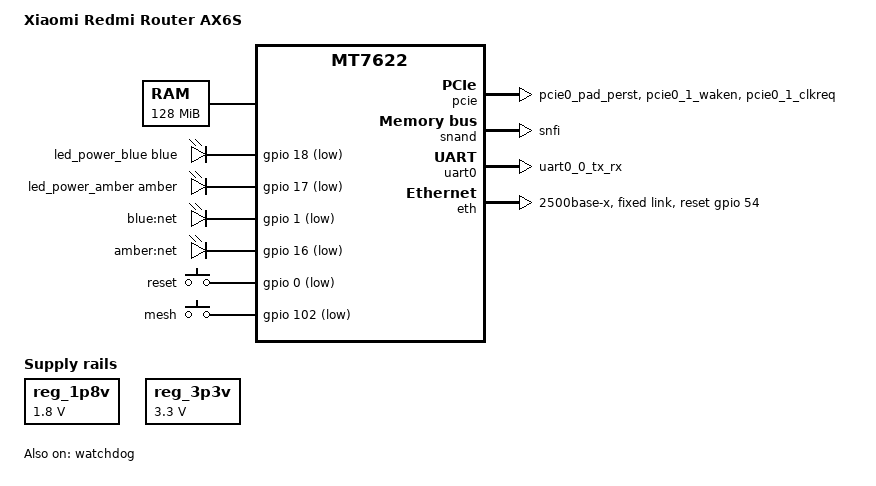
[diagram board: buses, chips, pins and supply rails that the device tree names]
// SPDX-License-Identifier: GPL-2.0-or-later OR MIT

/dts-v1/;
#include <dt-bindings/input/linux-event-codes.h>
#include <dt-bindings/leds/common.h>
#include "mt7622.dtsi"
#include "mt7622-u-boot.dtsi"

/ {
	#address-cells = <1>;
	#size-cells = <1>;
	model = "Xiaomi Redmi Router AX6S";
	compatible = "xiaomi,redmi-router-ax6s", "mediatek,mt7622";

	chosen {
		stdout-path = &uart0;
		tick-timer = &timer0;
	};

	aliases {
		spi0 = &snand;
		ethernet0 = &eth;
	};

	memory@40000000 {
		device_type = "memory";
		reg = <0x40000000 0x8000000>;
	};

	leds {
		compatible = "gpio-leds";

		led_power_blue: power_blue {
			function = LED_FUNCTION_POWER;
			color = <LED_COLOR_ID_BLUE>;
			gpios = <&gpio 18 GPIO_ACTIVE_LOW>;
		};

		led_power_amber: power_amber {
			function = LED_FUNCTION_POWER;
			color = <LED_COLOR_ID_AMBER>;
			gpios = <&gpio 17 GPIO_ACTIVE_LOW>;
		};

		led_net_blue: net_blue {
			label = "blue:net";
			gpios = <&gpio 1 GPIO_ACTIVE_LOW>;
		};

		led_net_amber: net_amber {
			label = "amber:net";
			gpios = <&gpio 16 GPIO_ACTIVE_LOW>;
		};

	};

	keys {
		compatible = "gpio-keys";

		reset {
			label = "reset";
			gpios = <&gpio 0 GPIO_ACTIVE_LOW>;
			linux,code = <KEY_RESTART>;
		};

		mesh {
			label = "mesh";
			gpios = <&gpio 102 GPIO_ACTIVE_LOW>;
			linux,code = <BTN_9>;
			linux,input-type = <EV_SW>;
		};
	};

	reg_1p8v: regulator-1p8v {
		compatible = "regulator-fixed";
		regulator-name = "fixed-1.8V";
		regulator-min-microvolt = <1800000>;
		regulator-max-microvolt = <1800000>;
		regulator-boot-on;
		regulator-always-on;
	};

	reg_3p3v: regulator-3p3v {
		compatible = "regulator-fixed";
		regulator-name = "fixed-3.3V";
		regulator-min-microvolt = <3300000>;
		regulator-max-microvolt = <3300000>;
		regulator-boot-on;
		regulator-always-on;
	};
};

&pcie {
	pinctrl-names = "default";
	pinctrl-0 = <&pcie0_pins>;
	status = "okay";

	pcie@0,0 {
		status = "okay";
	};
};

&pinctrl {
	pcie0_pins: pcie0-pins {
		mux {
			function = "pcie";
			groups = "pcie0_pad_perst",
				 "pcie0_1_waken",
				 "pcie0_1_clkreq";
		};
	};

	snfi_pins: snfi-pins {
		mux {
			function = "flash";
			groups = "snfi";
		};
	};

	uart0_pins: uart0 {
		mux {
			function = "uart";
			groups = "uart0_0_tx_rx" ;
		};
	};

	watchdog_pins: watchdog-default {
		mux {
			function = "watchdog";
			groups = "watchdog";
		};
	};
};

&snand {
	pinctrl-names = "default";
	pinctrl-0 = <&snfi_pins>;
	quad-spi;
	status = "okay";
};

&uart0 {
	pinctrl-names = "default";
	pinctrl-0 = <&uart0_pins>;
	mediatek,force-highspeed;
	status = "okay";
};

&watchdog {
	pinctrl-names = "default";
	pinctrl-0 = <&watchdog_pins>;
	status = "okay";
};

&eth {
	status = "okay";
	mediatek,gmac-id = <0>;
	phy-mode = "2500base-x";
	mediatek,switch = "mt7531";
	reset-gpios = <&gpio 54 GPIO_ACTIVE_HIGH>;

	fixed-link {
		speed = <2500>;
		full-duplex;
	};
};
